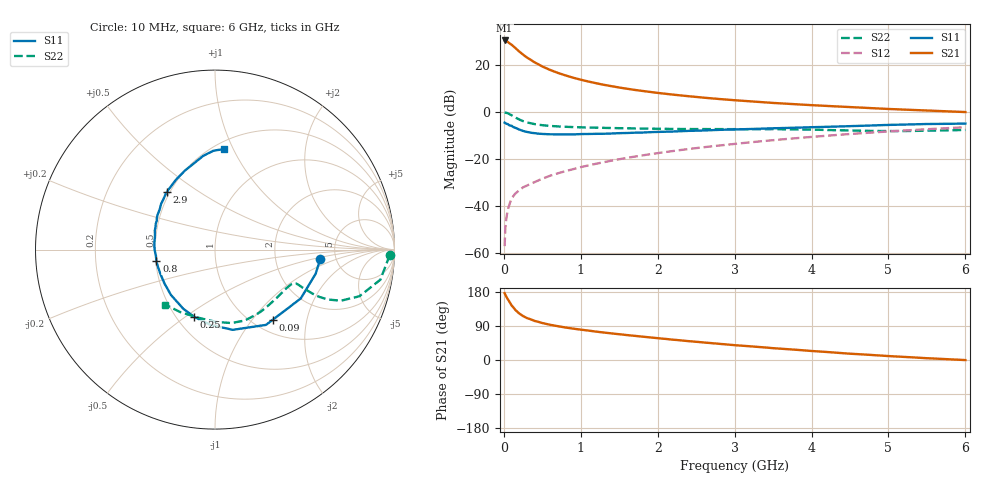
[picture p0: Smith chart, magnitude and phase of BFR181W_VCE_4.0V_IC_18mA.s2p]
! Infineon Technologies  Discrete & RF Semiconductors
! BFR181W
! VCE =  4.0 V,  IC =  18 mA
! Common Emitter S-Parameters:  Jan 2017
# GHz  S  MA  R  50
!  f  S11  S21  S12  S22
! GHz  MAG  ANG  MAG  ANG  MAG  ANG  MAG  ANG
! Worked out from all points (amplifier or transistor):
!   77 points, 10 MHz to 6 GHz, reference 50 ohm
!   highest |S21| = 30.3 dB at 10 MHz (marker M1)
!   |S21| within 3 dB of that: start of sweep to 142.2 MHz
!   unconditionally stable (mu >= 1): 623.7 MHz to 2.564 GHz
!   at 130 MHz: K = 0.42, MSG = 31.6 dB, |S12| = -35.5 dB
!   at 2.2 GHz: K = 1.04, MAG = 10.8 dB, |S12| = -16.7 dB
!   at 6 GHz: K = 0.83, MSG = 3.2 dB, |S12| = -6.5 dB
!   S11 on the Smith chart (normalised r, x): 10 MHz: 3.75, -0.61; 90 MHz: 1.22, -1.28; 250 MHz: 0.61, -0.54; 800 MHz: 0.50, -0.07; 2.9 GHz: 0.48, +0.38; 6 GHz: 0.56, +0.92
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0.01  0.5885 -5.2  32.78 176.5  0.0014 87.8  0.9735 -1.8
0.02  0.5767 -13.5  32.47 171.7  0.0035 89.3  0.9625 -3.9
0.05  0.5499 -29.7  30.73 160.6  0.008 78.7  0.9368 -10.3
0.09  0.5064 -50.4  27.32 147.8  0.0129 69.8  0.8622 -16.3
0.1  0.5067 -55.9  26.71 144.1  0.0142 68.5  0.8452 -17.9
0.15  0.4578 -77.5  22.64 132.0  0.0184 65.1  0.7569 -22.1
0.2  0.4201 -93.6  19.1 122.8  0.0215 63.0  0.6859 -23.9
0.25  0.3918 -107.3  16.4 115.9  0.0249 62.7  0.6346 -24.4
0.3  0.3744 -118.0  14.22 110.7  0.0271 62.7  0.5951 -24.3
0.4  0.3522 -134.2  11.23 103.1  0.0321 64.5  0.5476 -23.7
0.5  0.3388 -146.2  9.181 97.6  0.0379 65.7  0.5193 -23.2
0.6  0.3331 -155.5  7.772 93.0  0.0438 67.9  0.5019 -22.8
0.8  0.3328 -169.0  5.942 85.8  0.0549 70.3  0.4806 -23.1
0.9  0.331 -174.6  5.304 82.8  0.0604 71.5  0.4738 -23.6
1.1  0.3384 176.4  4.394 77.6  0.0726 72.6  0.4642 -25.1
1.5  0.352 162.3  3.282 68.0  0.0982 73.4  0.4493 -29.8
2.1  0.3775 146.2  2.417 55.7  0.1397 72.5  0.4347 -39.7
2.9  0.4181 129.8  1.815 41.0  0.2 68.7  0.4288 -55.5
3.1  0.4267 126.1  1.716 37.7  0.2162 67.4  0.4276 -59.4
4.1  0.4754 109.3  1.359 22.5  0.3016 59.6  0.4147 -79.6
5.1  0.5311 95.8  1.132 9.3  0.3911 49.9  0.3899 -106.9
6  0.5621 85.1  0.988 -0.2  0.4708 40.0  0.413 -132.2
